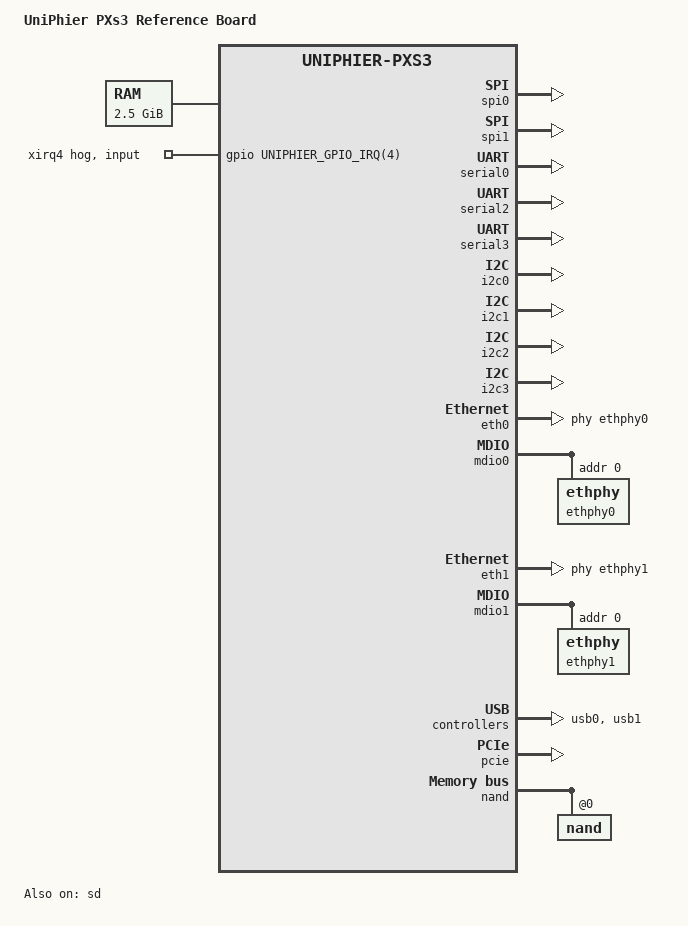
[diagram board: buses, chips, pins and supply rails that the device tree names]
// SPDX-License-Identifier: GPL-2.0+ OR MIT
//
// Device Tree Source for UniPhier PXs3 Reference Board
//
// Copyright (C) 2017 Socionext Inc.
//   Author: Masahiro Yamada <yamada.masahiro@socionext.com>

/dts-v1/;
#include "uniphier-pxs3.dtsi"
#include "uniphier-support-card.dtsi"

/ {
	model = "UniPhier PXs3 Reference Board";
	compatible = "socionext,uniphier-pxs3-ref", "socionext,uniphier-pxs3";

	chosen {
		stdout-path = "serial0:115200n8";
	};

	aliases {
		serial0 = &serial0;
		serial1 = &serial1;
		serial2 = &serial2;
		serial3 = &serial3;
		i2c0 = &i2c0;
		i2c1 = &i2c1;
		i2c2 = &i2c2;
		i2c3 = &i2c3;
		i2c6 = &i2c6;
		spi0 = &spi0;
		spi1 = &spi1;
		ethernet0 = &eth0;
		ethernet1 = &eth1;
	};

	memory@80000000 {
		device_type = "memory";
		reg = <0 0x80000000 0 0xa0000000>;
	};
};

&ethsc {
	interrupts = <4 8>;
};

&spi0 {
	status = "okay";
};

&spi1 {
	status = "okay";
};

&serial0 {
	status = "okay";
};

&serial2 {
	status = "okay";
};

&serial3 {
	status = "okay";
};

&gpio {
	xirq4 {
		gpio-hog;
		gpios = <UNIPHIER_GPIO_IRQ(4) 0>;
		input;
	};
};

&i2c0 {
	status = "okay";
};

&i2c1 {
	status = "okay";
};

&i2c2 {
	status = "okay";
};

&i2c3 {
	status = "okay";
};

&sd {
	status = "okay";
};

&eth0 {
	status = "okay";
	phy-handle = <&ethphy0>;
};

&mdio0 {
	ethphy0: ethphy@0 {
		reg = <0>;
	};
};

&eth1 {
	status = "okay";
	phy-handle = <&ethphy1>;
};

&mdio1 {
	ethphy1: ethphy@0 {
		reg = <0>;
	};
};

&usb0 {
	status = "okay";
};

&usb1 {
	status = "okay";
};

&pcie {
	status = "okay";
};

&nand {
	status = "okay";

	nand@0 {
		reg = <0>;
	};
};
